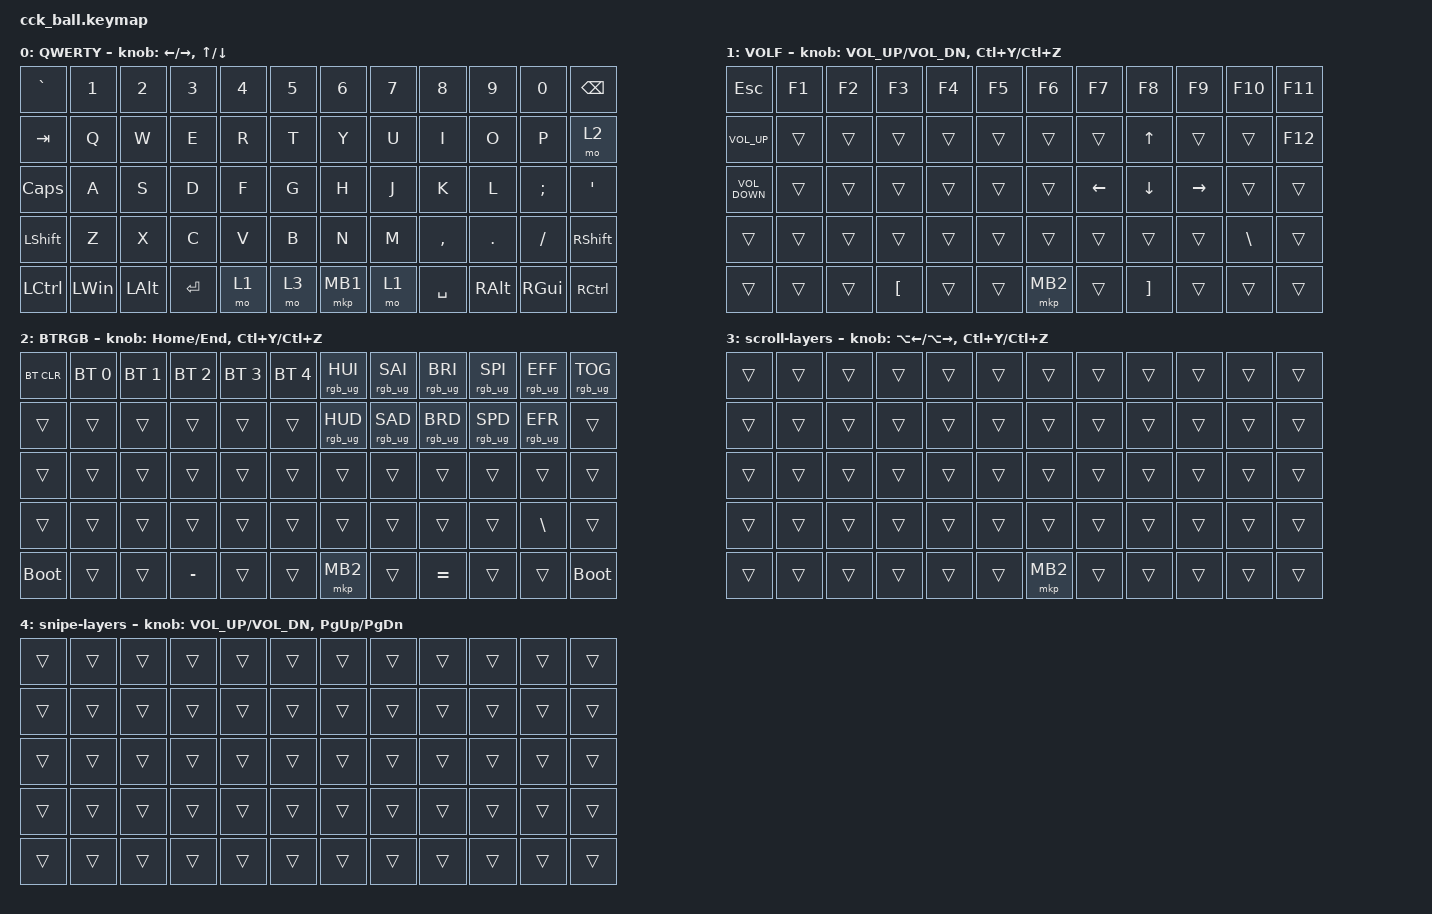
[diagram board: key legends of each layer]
#include <behaviors.dtsi>
#include <dt-bindings/zmk/bt.h>
#include <dt-bindings/zmk/keys.h>
#include <dt-bindings/zmk/pointing.h>
#include <dt-bindings/zmk/rgb.h>

&lt {
    tapping-term-ms = <200>;//lt的延迟时间
    flavor = "balanced";
    quick-tap-ms = <150>;//按下lt后，150ms内按住不松开，就一直是单击的这个按键，而不是切层的效果。150ms以内的这个时间是关键
};

/ {
    keymap {
        compatible = "zmk,keymap";

        QWERTY {
            bindings = <
&kp GRAVE         &kp N1        &kp N2        &kp N3     &kp N4  &kp N5  &kp N6    &kp N7  &kp N8     &kp N9         &kp N0         &kp BACKSPACE
&kp TAB           &kp Q         &kp W         &kp E      &kp R   &kp T   &kp Y     &kp U   &kp I      &kp O          &kp P          &mo 2
&kp CAPSLOCK      &kp A         &kp S         &kp D      &kp F   &kp G   &kp H     &kp J   &kp K      &kp L          &kp SEMI       &kp SQT
&kp LEFT_SHIFT    &kp Z         &kp X         &kp C      &kp V   &kp B   &kp N     &kp M   &kp COMMA  &kp DOT        &kp SLASH      &kp RIGHT_SHIFT
&kp LEFT_CONTROL  &kp LEFT_WIN  &kp LEFT_ALT  &kp ENTER  &mo 1   &mo 3   &mkp MB1  &mo 1   &kp SPACE  &kp RIGHT_ALT  &kp RIGHT_GUI  &kp RCTRL
            >;

            sensor-bindings = <&inc_dec_kp LEFT RIGHT>, <&inc_dec_kp UP DOWN>;
        };

        VOLF {
            bindings = <
&kp ESC            &kp F1  &kp F2  &kp F3            &kp F4  &kp F5  &kp F6    &kp F7    &kp F8             &kp F9     &kp F10        &kp F11
&kp K_VOLUME_UP    &trans  &trans  &trans            &trans  &trans  &trans    &trans    &kp UP             &trans     &trans         &kp F12
&kp K_VOLUME_DOWN  &trans  &trans  &trans            &trans  &trans  &trans    &kp LEFT  &kp DOWN           &kp RIGHT  &trans         &trans
&trans             &trans  &trans  &trans            &trans  &trans  &trans    &trans    &trans             &trans     &kp BACKSLASH  &trans
&trans             &trans  &trans  &kp LEFT_BRACKET  &trans  &trans  &mkp MB2  &trans    &kp RIGHT_BRACKET  &trans     &trans         &trans
            >;

            sensor-bindings =
                <&inc_dec_kp C_VOL_UP C_VOL_DN>,
                <&inc_dec_kp LC(Y) LC(Z)>;
        };

        BTRGB {
            bindings = <
&bt BT_CLR   &bt BT_SEL 0  &bt BT_SEL 1  &bt BT_SEL 2  &bt BT_SEL 3  &bt BT_SEL 4  &rgb_ug RGB_HUI  &rgb_ug RGB_SAI  &rgb_ug RGB_BRI  &rgb_ug RGB_SPI  &rgb_ug RGB_EFF  &rgb_ug RGB_TOG
&trans       &trans        &trans        &trans        &trans        &trans        &rgb_ug RGB_HUD  &rgb_ug RGB_SAD  &rgb_ug RGB_BRD  &rgb_ug RGB_SPD  &rgb_ug RGB_EFR  &trans
&trans       &trans        &trans        &trans        &trans        &trans        &trans           &trans           &trans           &trans           &trans           &trans
&trans       &trans        &trans        &trans        &trans        &trans        &trans           &trans           &trans           &trans           &kp BACKSLASH    &trans
&bootloader  &trans        &trans        &kp MINUS     &trans        &trans        &mkp MB2         &trans           &kp EQUAL        &trans           &trans           &bootloader
            >;

            sensor-bindings = <&inc_dec_kp HOME END>, <&inc_dec_kp LC(Y) LC(Z)>;
        };

        scroll-layers {
            bindings = <
&trans  &trans  &trans  &trans  &trans  &trans  &trans    &trans  &trans  &trans  &trans  &trans
&trans  &trans  &trans  &trans  &trans  &trans  &trans    &trans  &trans  &trans  &trans  &trans
&trans  &trans  &trans  &trans  &trans  &trans  &trans    &trans  &trans  &trans  &trans  &trans
&trans  &trans  &trans  &trans  &trans  &trans  &trans    &trans  &trans  &trans  &trans  &trans
&trans  &trans  &trans  &trans  &trans  &trans  &mkp MB2  &trans  &trans  &trans  &trans  &trans
            >;

            sensor-bindings =
                <&inc_dec_kp LA(LEFT) LA(RIGHT)>,
                <&inc_dec_kp LC(Y) LC(Z)>;
        };

        snipe-layers {
            bindings = <
&trans  &trans  &trans  &trans  &trans  &trans  &trans  &trans  &trans  &trans  &trans  &trans
&trans  &trans  &trans  &trans  &trans  &trans  &trans  &trans  &trans  &trans  &trans  &trans
&trans  &trans  &trans  &trans  &trans  &trans  &trans  &trans  &trans  &trans  &trans  &trans
&trans  &trans  &trans  &trans  &trans  &trans  &trans  &trans  &trans  &trans  &trans  &trans
&trans  &trans  &trans  &trans  &trans  &trans  &trans  &trans  &trans  &trans  &trans  &trans
            >;

            sensor-bindings = <&inc_dec_kp C_VOL_UP C_VOL_DN &inc_dec_kp PG_UP PG_DN>;
        };
    };
};
